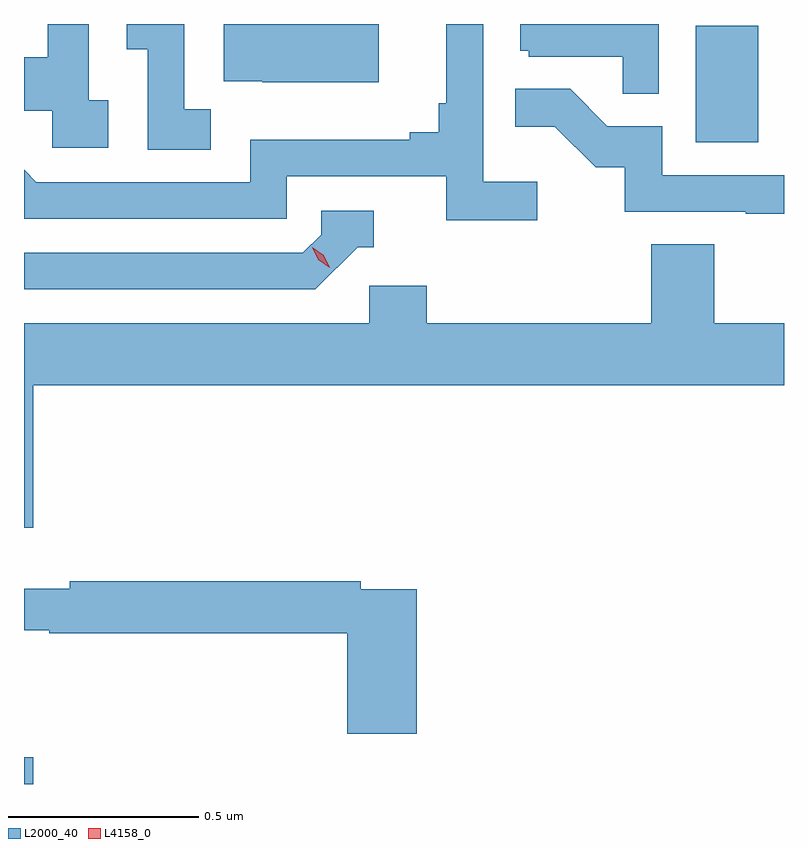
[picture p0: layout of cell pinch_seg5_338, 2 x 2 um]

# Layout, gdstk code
import gdstk
lib = gdstk.Library(unit=1e-6, precision=1e-09)
def R(c, l, rs):  # rectangles x0, y0, x1, y1
    for r in rs: c.add(gdstk.rectangle(r[:2], r[2:], *l))
def P(c, l, *ps):  # polygons
    for p in ps: c.add(gdstk.Polygon(p, *l))
L2000_40 = (2000, 40)
L4158_0 = (4158, 0)

pinch_seg5_338 = lib.new_cell('pinch_seg5_338')
R(pinch_seg5_338, L2000_40, [(944.368,881.019,944.392,881.089), (946.136,882.708,946.3,883.015)])
P(pinch_seg5_338, L2000_40, [(945.301,883.019),(944.893,883.019),(944.893,882.869),(944.995,882.869),(944.995,882.866),(945.301,882.866)],
  [(944.86,882.795),(944.79,882.795),(944.79,883.019),(944.639,883.019),(944.639,882.952),(944.694,882.952),(944.694,882.688),(944.86,882.688)],
  [(944.59,882.818),(944.538,882.818),(944.538,883.019),(944.43,883.019),(944.43,882.931),(944.368,882.931),(944.368,882.791),(944.442,882.791),(944.442,882.693),(944.59,882.693)],
  [(946.038,883.019),(945.674,883.019),(945.674,882.948),(945.696,882.948),(945.696,882.933),(945.943,882.933),(945.943,882.835),(946.038,882.835)],
  [(945.718,882.604),(945.576,882.604),(945.576,883.019),(945.479,883.019),(945.479,882.811),(945.46,882.811),(945.46,882.734),(945.383,882.734),(945.383,882.715),(944.964,882.715),(944.964,882.603),(944.4,882.603),(944.368,882.635),(944.368,882.507),(945.06,882.507),(945.06,882.618),(945.479,882.618),(945.479,882.502),(945.718,882.502)],
  [(946.368,882.621),(946.047,882.621),(946.047,882.75),(945.903,882.75),(945.805,882.848),(945.661,882.848),(945.661,882.749),(945.765,882.749),(945.872,882.642),(945.949,882.642),(945.949,882.525),(946.267,882.525),(946.267,882.52),(946.368,882.52)],
  [(945.246,882.432),(945.289,882.432),(945.289,882.528),(945.15,882.528),(945.15,882.465),(945.102,882.417),(944.368,882.417),(944.368,882.321),(945.135,882.321)],
  [(944.392,882.068),(946.368,882.068),(946.368,882.232),(946.184,882.232),(946.184,882.44),(946.019,882.44),(946.019,882.232),(945.428,882.232),(945.428,882.33),(945.276,882.33),(945.276,882.232),(944.368,882.232),(944.368,881.694),(944.392,881.694)],
  [(945.401,881.532),(945.254,881.532),(945.254,881.552),(944.488,881.552),(944.488,881.533),(944.368,881.533),(944.368,881.424),(944.434,881.424),(944.434,881.416),(945.218,881.416),(945.218,881.151),(945.401,881.151)])
P(pinch_seg5_338, L4158_0, [(945.173,882.378),(945.142,882.398),(945.126,882.431),(945.126,882.431),(945.126,882.431),(945.157,882.411),(945.173,882.379),(945.173,882.378)])

lib.write_gds('pinch_seg5_338.gds')
